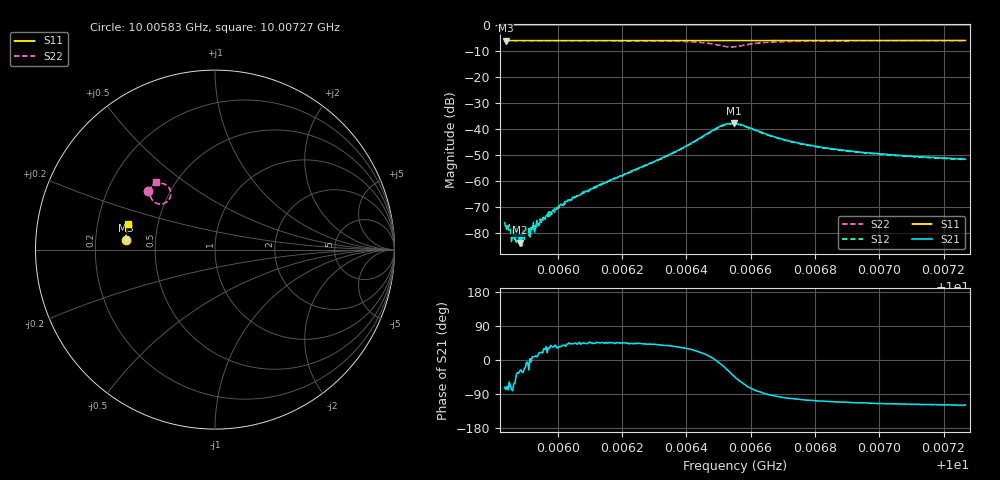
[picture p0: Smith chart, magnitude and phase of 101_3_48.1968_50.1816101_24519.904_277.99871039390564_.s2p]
#  HZ  S  RI  R  50.00
! Rohde & Schwarz Vector Network Analyzer
! Rohde-Schwarz,ZNB20-2Port,1311601062101988,3.16
! Created: UTC 3/20/2024, 11:40:36 AM
! freq[Hz]  re:S11  im:S11  re:S21  im:S21  re:S12  im:S12  re:S22  im:S22
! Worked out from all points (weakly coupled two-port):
!   401 points, 10.00583 GHz to 10.00727 GHz, reference 50 ohm
!   highest |S21| = -37.86 dB at 10.00655 GHz (marker M1); lowest = -83.8 dB at 10.00588 GHz (marker M2)
!   lowest |S11| = -6.0 dB at 10.00584 GHz (marker M3), VSWR 3.01, Z = 16.7 + j2.32 ohm
!   |S11| at or under -10 dB: nowhere
!   |S22| runs from -8.5 to -6.0 dB; largest |S21 - S12| = 0.0009
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1.0005835e10  -0.4986 0.0519  4.79e-05 -0.000148  2.52e-05 -0.000134  -0.3749 0.3277
1.0005839e10  -0.4985 0.0522  2.71e-05 -0.000131  3.34e-05 -0.000133  -0.3747 0.3278
1.0005856e10  -0.4985 0.0532  1.97e-05 -9.49e-05  3.99e-05 -4.98e-05  -0.3737 0.3289
1.0005864e10  -0.4984 0.0536  3.95e-05 -7.5e-05  6.5e-05 -0.000106  -0.3734 0.3295
1.0005882e10  -0.4985 0.0549  5.57e-05 -3.23e-05  6.7e-05 -6.29e-05  -0.3724 0.3305
1.0005896e10  -0.4983 0.0557  6.82e-05 -2.99e-05  8.81e-05 -3.37e-05  -0.3716 0.3314
1.0005914e10  -0.4981 0.057  9.43e-05 5.78e-06  8.12e-05 1.46e-05  -0.3706 0.3328
1.0005917e10  -0.4981 0.0572  0.000115 -1.03e-05  0.000126 1.59e-05  -0.3704 0.3329
1.0005935e10  -0.498 0.0584  0.000172 2.46e-05  0.000148 4.85e-05  -0.3694 0.3341
1.0005964e10  -0.4979 0.0603  0.000176 0.000124  0.000169 9.08e-05  -0.3677 0.3361
1.0006007e10  -0.4975 0.0631  0.000273 0.000199  0.000259 0.000203  -0.3648 0.3389
1.0006075e10  -0.4971 0.0676  0.000402 0.00039  0.000389 0.000433  -0.3602 0.3438
1.0006315e10  -0.4952 0.0831  0.00198 0.00168  0.00189 0.00173  -0.3323 0.3638
1.0006433e10  -0.4938 0.0909  0.00566 0.00243  0.00541 0.00264  -0.2906 0.368
1.0006501e10  -0.4926 0.0949  0.0109 -0.0013  0.0106 -0.000692  -0.2474 0.3247
1.0006548e10  -0.4919 0.0972  0.00947 -0.0086  0.00963 -0.0078  -0.2748 0.2611
1.0006552e10  -0.492 0.0973  0.00901 -0.00895  0.0093 -0.00825  -0.28 0.2585
1.000663e10  -0.4919 0.1022  0.000837 -0.00882  0.00113 -0.00844  -0.3542 0.2831
1.0006702e10  -0.4913 0.1069  -0.000996 -0.00616  -0.000661 -0.00611  -0.3617 0.3139
1.0006792e10  -0.4903 0.1127  -0.00136 -0.00456  -0.00115 -0.00453  -0.3577 0.3346
1.0007032e10  -0.487 0.1281  -0.00137 -0.00288  -0.00121 -0.00291  -0.3429 0.3612
1.0007268e10  -0.4835 0.1429  -0.00125 -0.0023  -0.00114 -0.0023  -0.3295 0.3767
